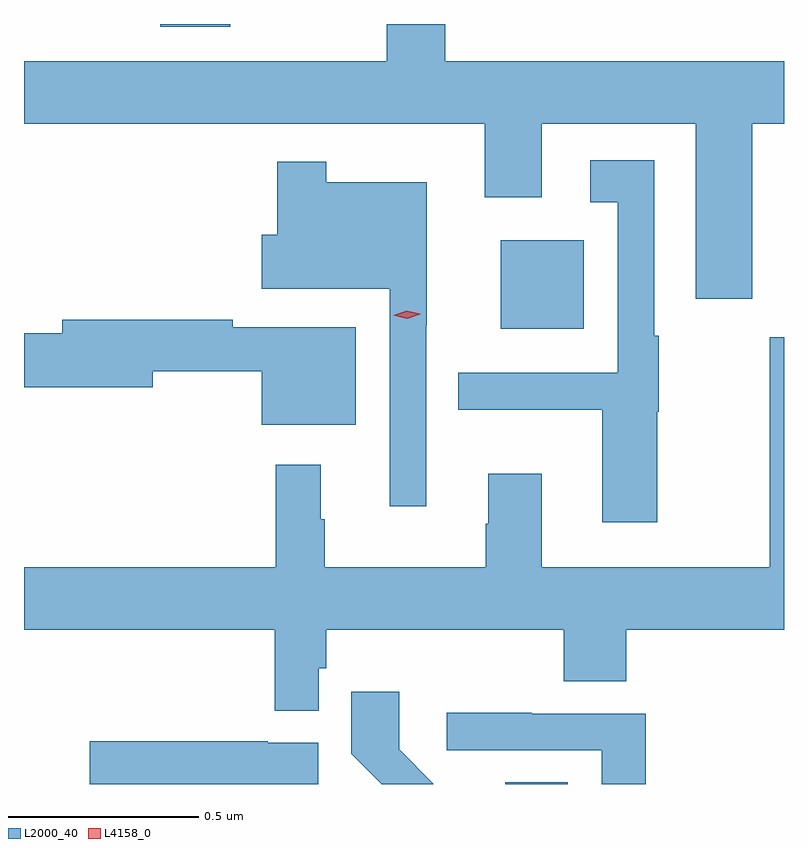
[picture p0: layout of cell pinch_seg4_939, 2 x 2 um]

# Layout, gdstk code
import gdstk
lib = gdstk.Library(unit=1e-6, precision=1e-09)
def R(c, l, rs):  # rectangles x0, y0, x1, y1
    for r in rs: c.add(gdstk.rectangle(r[:2], r[2:], *l))
def P(c, l, *ps):  # polygons
    for p in ps: c.add(gdstk.Polygon(p, *l))
L2000_40 = (2000, 40)
L4158_0 = (4158, 0)

pinch_seg4_939 = lib.new_cell('pinch_seg4_939')
R(pinch_seg4_939, L2000_40, [(679.028,827.05,679.192,827.054), (679.016,828.248,679.234,828.481), (678.119,829.043,678.304,829.05)])
P(pinch_seg4_939, L2000_40, [(679.677,828.788),(679.761,828.788),(679.761,828.952),(678.869,828.952),(678.869,829.05),(678.716,829.05),(678.716,828.952),(677.761,828.952),(677.761,828.788),(678.974,828.788),(678.974,828.594),(679.123,828.594),(679.123,828.788),(679.529,828.788),(679.529,828.327),(679.677,828.327)],
  [(679.428,828.029),(679.432,828.029),(679.432,828.229),(679.419,828.229),(679.419,828.691),(679.251,828.691),(679.251,828.581),(679.323,828.581),(679.323,828.132),(678.904,828.132),(678.904,828.035),(679.283,828.035),(679.283,827.739),(679.428,827.739)],
  [(678.819,828.257),(678.821,828.257),(678.821,828.634),(678.556,828.634),(678.556,828.688),(678.427,828.688),(678.427,828.495),(678.386,828.495),(678.386,828.353),(678.723,828.353),(678.723,827.781),(678.819,827.781)],
  [(678.634,828.252),(678.31,828.252),(678.31,828.272),(677.861,828.272),(677.861,828.236),(677.761,828.236),(677.761,828.094),(678.1,828.094),(678.1,828.136),(678.386,828.136),(678.386,827.996),(678.634,827.996)],
  [(678.537,827.355),(678.557,827.355),(678.557,827.456),(679.181,827.456),(679.181,827.32),(679.346,827.32),(679.346,827.456),(679.761,827.456),(679.761,828.226),(679.724,828.226),(679.724,827.62),(679.123,827.62),(679.123,827.866),(678.983,827.866),(678.983,827.735),(678.976,827.735),(678.976,827.62),(678.553,827.62),(678.553,827.747),(678.542,827.747),(678.542,827.89),(678.424,827.89),(678.424,827.62),(677.761,827.62),(677.761,827.456),(678.421,827.456),(678.421,827.243),(678.537,827.243)],
  [(678.838,827.051),(678.748,827.141),(678.748,827.293),(678.622,827.293),(678.622,827.13),(678.702,827.05),(678.838,827.05)],
  [(679.397,827.235),(679.097,827.235),(679.097,827.238),(678.873,827.238),(678.873,827.139),(679.281,827.139),(679.281,827.05),(679.397,827.05)],
  [(678.535,827.158),(678.402,827.158),(678.402,827.163),(677.934,827.163),(677.934,827.05),(678.535,827.05)])
P(pinch_seg4_939, L4158_0, [(678.769,828.275),(678.733,828.284),(678.733,828.284),(678.733,828.284),(678.768,828.295),(678.804,828.287),(678.804,828.287),(678.804,828.286)])

lib.write_gds('pinch_seg4_939.gds')
